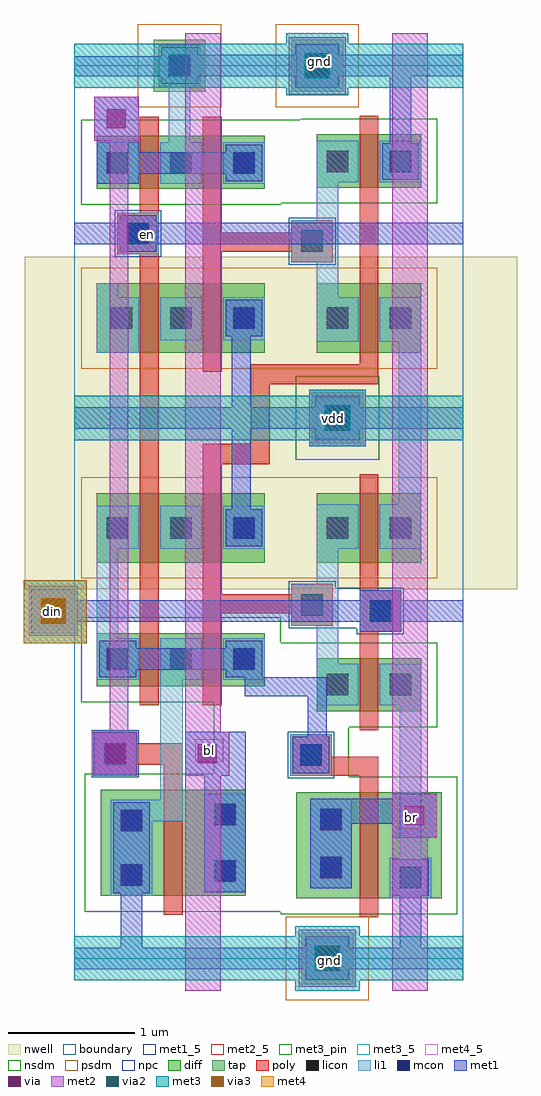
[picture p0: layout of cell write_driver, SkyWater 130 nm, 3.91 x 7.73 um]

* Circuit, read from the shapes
.subckt write_driver bl br din en gnd vdd
XM1 gnd en n1 gnd sky130_fd_pr__nfet_01v8 w=0.42 l=0.15
XM2 gnd en n2 gnd sky130_fd_pr__nfet_01v8 w=0.42 l=0.15
XM3 bl n2 gnd gnd sky130_fd_pr__nfet_01v8 w=0.84 l=0.15
XM4 n1 n3 gnd gnd sky130_fd_pr__nfet_01v8 w=0.42 l=0.15
XM5 n2 n4 gnd gnd sky130_fd_pr__nfet_01v8 w=0.42 l=0.15
XM6 gnd n1 br gnd sky130_fd_pr__nfet_01v8 w=0.84 l=0.15
XM7 gnd din n3 gnd sky130_fd_pr__nfet_01v8 w=0.42 l=0.15
XM8 gnd n3 n4 gnd sky130_fd_pr__nfet_01v8 w=0.42 l=0.15
XM9 n5 en n1 vdd sky130_fd_pr__pfet_01v8 w=0.55 l=0.15
XM10 n6 en n7 vdd sky130_fd_pr__pfet_01v8 w=0.55 l=0.15
XM11 vdd n3 n5 vdd sky130_fd_pr__pfet_01v8 w=0.55 l=0.15
XM12 vdd n4 n6 vdd sky130_fd_pr__pfet_01v8 w=0.55 l=0.15
XM13 n8 din n3 vdd sky130_fd_pr__pfet_01v8 w=0.55 l=0.15
XM14 n8 n3 n4 vdd sky130_fd_pr__pfet_01v8 w=0.55 l=0.15
.ends

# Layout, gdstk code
import gdstk
lib = gdstk.Library(unit=1e-6, precision=1e-09)
def R(c, l, rs):  # rectangles x0, y0, x1, y1
    for r in rs: c.add(gdstk.rectangle(r[:2], r[2:], *l))
def A(c, l, x, y, w, h, nx, ny, dx, dy):  # array of equal rectangles
    R(c, l, [(x+i*dx, y+j*dy, x+i*dx+w, y+j*dy+h) for i in range(nx) for j in range(ny)])
nwell = (64, 20)
diff = (65, 20)
tap = (65, 44)
poly = (66, 20)
licon = (66, 44)
li1 = (67, 20)
mcon = (67, 44)
met1_5 = (68, 5)
met1 = (68, 20)
via = (68, 44)
met2_5 = (69, 5)
met2 = (69, 20)
via2 = (69, 44)
met3_5 = (70, 5)
met3_pin = (70, 16)
met3 = (70, 20)
via3 = (70, 44)
met4_5 = (71, 5)
met4 = (71, 20)
nsdm = (93, 44)
psdm = (94, 20)
npc = (95, 20)
boundary = (235, 4)

write_driver = lib.new_cell('write_driver')
R(write_driver, nwell, [(-0.39,2.93,3.51,5.56)])
R(write_driver, diff, [(1.76,0.48,2.91,1.32), (0.21,0.5,1.36,1.34), (1.92,1.96,2.75,2.38), (0.18,2.16,1.51,2.58), (0.18,3.14,1.51,3.69), (1.92,3.14,2.75,3.69), (0.18,4.8,1.51,5.35), (1.92,4.8,2.75,5.35), (0.18,6.1,1.51,6.52), (1.92,6.11,2.75,6.53)])
R(write_driver, tap, [(1.8,-0.2,2.21,0.21), (1.88,4.08,2.29,4.49), (0.63,6.87,1.04,7.28), (1.72,6.87,2.13,7.28)])
R(write_driver, poly, [(2.26,0.33,2.41,1.45), (0.71,0.35,0.86,1.54), (1.71,1.45,2.41,1.6), (0.16,1.46,0.49,1.54), (0.16,1.54,0.86,1.71), (1.71,1.6,2.04,1.78), (0.16,1.71,0.49,1.79), (2.26,1.81,2.41,2.59), (0.52,2.01,0.67,5.58), (1.02,2.01,1.17,2.74), (2.26,2.59,2.59,2.92), (1.72,2.64,2.05,2.74), (1.02,2.74,2.05,2.89), (1.02,2.89,1.17,3.92), (1.72,2.89,2.05,2.97), (2.26,2.92,2.41,3.84), (1.02,3.92,1.55,4.08), (1.4,4.08,1.55,4.55), (1.4,4.55,2.41,4.71), (1.02,4.65,1.17,5.6), (2.26,4.71,2.41,6.68), (1.72,5.52,2.05,5.6), (0.34,5.58,0.67,5.91), (1.02,5.6,2.05,5.75), (1.02,5.75,1.17,6.67), (1.72,5.75,2.05,5.85), (0.52,5.91,0.67,6.67)])
A(write_driver, licon, 0.26, 2.29, 0.17, 0.17, 3, 2, 0.5, 1.04)
A(write_driver, licon, 0.26, 6.22, 0.17, 0.17, 3, 1, 0.5, 0)
R(write_driver, licon, [(1.92,-0.08,2.09,0.09), (2.58,0.56,2.75,0.73), (0.37,0.58,0.54,0.75), (1.11,0.61,1.28,0.78), (1.95,0.64,2.12,0.81), (0.37,1.01,0.54,1.18), (1.95,1.02,2.12,1.19), (1.11,1.06,1.28,1.23), (1.79,1.53,1.96,1.7), (0.24,1.54,0.41,1.71), (2,2.09,2.17,2.26), (2.5,2.09,2.67,2.26), (2.34,2.67,2.51,2.84), (1.8,2.72,1.97,2.89), (2,3.33,2.17,3.5), (2.5,3.33,2.67,3.5), (2,4.2,2.17,4.37), (0.29,4.99,0.46,5.16), (0.76,4.99,0.93,5.16), (1.26,4.99,1.43,5.16), (2,4.99,2.17,5.16), (2.5,4.99,2.67,5.16), (1.8,5.6,1.97,5.77), (0.42,5.66,0.59,5.83), (2,6.23,2.17,6.4), (2.5,6.23,2.67,6.4), (0.75,6.99,0.92,7.16), (1.84,6.99,2.01,7.16)])
A(write_driver, li1, 0.18, 2.21, 0.33, 0.33, 3, 2, 0.5, 3.93)
A(write_driver, li1, 0.18, 3.25, 0.33, 0.34, 3, 1, 0.5, 0)
R(write_driver, li1, [(1.84,-0.16,2.17,0.17), (2.5,0.48,2.83,0.8), (0.29,0.5,0.62,1.09), (1.03,0.53,1.36,1.31), (1.87,0.56,2.2,1.27), (2.58,0.8,2.75,2.01), (0.29,1.09,0.86,1.26), (0.68,1.26,0.86,2.21), (1.71,1.45,2.04,1.78), (0.16,1.46,0.49,1.79), (1.92,2.01,2.25,2.34), (2.42,2.01,2.75,2.34), (1.92,2.34,2.09,2.64), (0.18,2.54,0.35,3.25), (2.26,2.59,2.59,2.92), (1.72,2.64,2.09,2.97), (1.92,2.97,2.09,3.25), (1.92,3.25,2.25,3.6), (2.42,3.25,2.75,3.6), (2.57,3.6,2.75,4.89), (2.08,4.11,2.25,4.12), (1.92,4.12,2.25,4.45), (0.18,4.8,0.51,5.24), (1.92,4.89,2.25,5.24), (2.42,4.89,2.75,5.24), (0.68,4.9,1.01,5.24), (1.18,4.9,1.51,5.24), (0.18,5.24,0.35,5.35), (1.92,5.24,2.09,5.52), (1.72,5.52,2.09,5.85), (0.34,5.58,0.67,5.91), (1.92,5.85,2.09,6.15), (1.92,6.15,2.25,6.48), (2.42,6.15,2.75,6.48), (0.75,6.47,0.92,6.91), (1.86,6.9,2.03,6.91), (0.67,6.91,1,7.24), (1.76,6.91,2.09,7.24)])
R(write_driver, mcon, [(1.92,-0.08,2.09,0.09), (2.58,0.56,2.75,0.73), (0.37,0.58,0.54,0.75), (1.11,0.61,1.28,0.78), (1.95,0.64,2.12,0.81), (0.37,1.01,0.54,1.18), (1.95,1.02,2.12,1.19), (1.11,1.06,1.28,1.23), (1.79,1.53,1.96,1.7), (0.24,1.54,0.41,1.71), (0.26,2.29,0.43,2.46), (1.26,2.29,1.43,2.46), (2.34,2.67,2.51,2.84), (1.26,3.33,1.43,3.5), (2,4.2,2.17,4.37), (1.26,4.99,1.43,5.16), (0.42,5.66,0.59,5.83), (0.26,6.22,0.43,6.39), (1.26,6.22,1.43,6.39), (2.5,6.23,2.67,6.4), (0.75,6.99,0.92,7.16), (1.84,6.99,2.01,7.16)])
R(write_driver, met1_5, [(0.5,5.67,0.66,5.81)])
R(write_driver, met1, [(1.83,-0.17,2.18,-0.08), (0,-0.08,3.08,0.09), (0.37,0.09,0.54,0.52), (1.83,0.09,2.18,0.18), (2.58,0.09,2.75,0.5), (2.52,0.5,2.81,0.79), (0.31,0.52,0.6,1.24), (1.03,0.53,1.36,1.45), (1.87,0.56,2.2,1.07), (2.52,0.96,2.87,1.07), (1.87,1.07,2.87,1.27), (2.52,1.27,2.87,1.31), (0.15,1.45,0.5,1.8), (0.88,1.45,1.36,1.8), (1.73,1.47,2.02,1.76), (1.85,1.76,2,2.08), (1.35,2.08,2,2.23), (0.2,2.23,0.49,2.29), (1.2,2.23,1.49,2.29), (0.2,2.29,1.49,2.46), (0.2,2.46,0.49,2.52), (1.2,2.46,1.49,2.52), (-0.34,2.58,0.01,2.67), (2.26,2.59,2.59,2.67), (-0.34,2.67,3.08,2.84), (-0.34,2.84,0.01,2.93), (2.26,2.84,2.59,2.92), (1.2,3.27,1.49,3.56), (1.25,3.56,1.4,4.2), (1.91,4.11,2.26,4.2), (0,4.2,3.08,4.37), (1.25,4.37,1.4,4.93), (1.91,4.37,2.26,4.46), (1.2,4.93,1.49,5.22), (0.36,5.6,0.65,5.66), (0,5.66,3.08,5.83), (0.36,5.83,0.65,5.89), (0.18,6.14,0.51,6.22), (1.2,6.16,1.49,6.22), (2.44,6.17,2.73,6.46), (0.18,6.22,1.49,6.39), (0.18,6.39,0.51,6.48), (1.2,6.39,1.49,6.45), (2.5,6.46,2.67,6.99), (0.16,6.48,0.51,6.83), (1.75,6.9,2.1,6.99), (0.69,6.93,0.98,6.99), (0,6.99,3.08,7.15), (0.69,7.15,3.08,7.16), (0.69,7.16,0.98,7.22), (1.75,7.16,2.1,7.25)])
R(write_driver, via, [(1.93,-0.07,2.08,0.08), (2.62,1.06,2.77,1.21), (0.25,1.55,0.4,1.7), (0.98,1.55,1.13,1.7), (-0.24,2.68,-0.09,2.83), (2.01,4.21,2.16,4.36), (0.26,6.58,0.41,6.73), (1.85,7,2,7.15)])
R(write_driver, met2_5, [(2.56,1.03,2.78,1.21), (0.96,1.56,1.18,1.74)])
R(write_driver, met2, [(0.88,-0.25,1.16,1.45), (2.52,-0.25,2.8,0.96), (1.78,-0.22,2.23,0.23), (2.52,0.96,2.87,1.31), (2.52,1.31,2.8,7.33), (0.14,1.45,0.5,1.8), (0.88,1.45,1.23,1.8), (0.28,1.8,0.43,6.48), (0.88,1.8,1.16,7.33), (-0.36,2.56,0.03,2.95), (1.86,4.06,2.31,4.51), (0.16,6.48,0.51,6.83), (1.7,6.85,2.15,7.3)])
R(write_driver, via2, [(1.905,-0.095,2.105,0.105), (-0.265,2.655,-0.065,2.855), (1.985,4.185,2.185,4.385), (1.825,6.975,2.025,7.175)])
R(write_driver, met3_5, [(1.92,-0.09,2.13,0.07), (1.97,4.22,2.14,4.34)])
R(write_driver, met3_pin, [(1.84,7.03,2.05,7.19)])
R(write_driver, met3, [(1.75,-0.25,2.26,-0.17), (0,-0.17,3.08,0.18), (1.75,0.18,2.26,0.26), (-0.4,2.5,0.1,3), (1.86,4.06,2.31,4.11), (0,4.11,3.08,4.46), (1.86,4.46,2.31,4.51), (1.68,6.84,2.17,6.9), (0,6.9,3.08,7.25), (1.68,7.25,2.17,7.33)])
R(write_driver, via3, [(-0.265,2.655,-0.065,2.855)])
R(write_driver, met4_5, [(-0.26,2.67,-0.09,2.84)])
R(write_driver, met4, [(-0.4,2.5,0.1,3)])
R(write_driver, nsdm, [(1.635,0.355,3.035,0.375), (0.085,0.375,3.035,1.445), (0.085,1.445,2.175,1.465), (1.105,1.465,2.175,1.835), (1.105,1.835,2.875,2.035), (0.055,2.035,2.875,2.505), (0.055,2.505,1.635,2.705), (1.755,3.955,2.415,4.615), (0.055,5.975,1.635,5.985), (0.055,5.985,2.875,6.645), (1.795,6.645,2.875,6.655)])
R(write_driver, psdm, [(1.675,-0.325,2.335,0.335), (0.055,3.015,2.875,3.815), (0.055,4.675,2.875,5.475), (0.505,6.745,1.165,7.405), (1.595,6.745,2.255,7.405)])
R(write_driver, npc, [(1.69,1.43,2.06,1.8), (0.14,1.44,0.51,1.81), (2.24,2.57,2.61,2.62), (1.7,2.62,2.61,2.94), (1.7,2.94,2.07,2.99), (1.7,5.5,2.07,5.87), (0.32,5.56,0.69,5.93)])
R(write_driver, boundary, [(0,0,3.08,7.08)])
write_driver.add(gdstk.Label('gnd', (1.945,7.11), layer=70, texttype=16))
write_driver.add(gdstk.Label('din', (-0.175,2.755), layer=71, texttype=5))
write_driver.add(gdstk.Label('bl', (1.07,1.65), layer=69, texttype=5))
write_driver.add(gdstk.Label('br', (2.67,1.12), layer=69, texttype=5))
write_driver.add(gdstk.Label('en', (0.58,5.74), layer=68, texttype=5))
write_driver.add(gdstk.Label('vdd', (2.055,4.28), layer=70, texttype=5))
write_driver.add(gdstk.Label('gnd', (2.025,-0.01), layer=70, texttype=5))

lib.write_gds('write_driver.gds')
